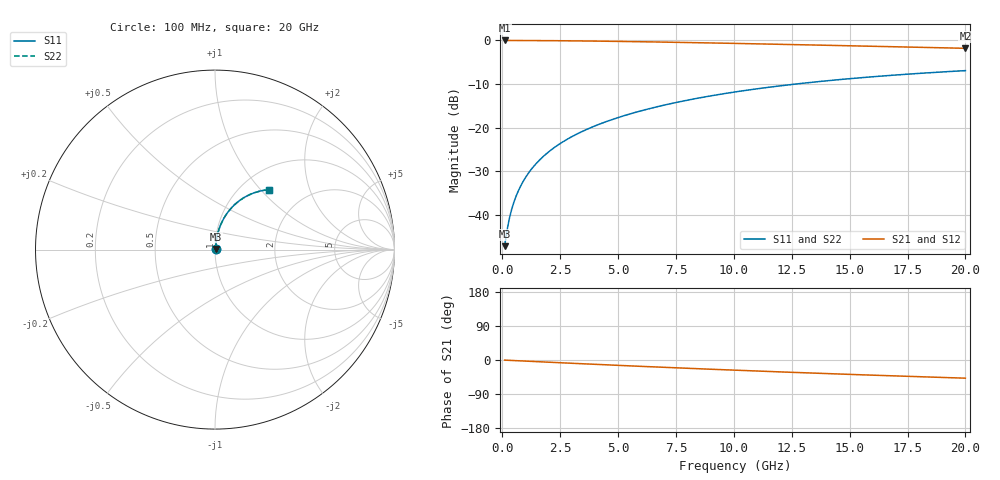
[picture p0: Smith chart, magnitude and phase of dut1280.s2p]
! Touchstone file exported from HFSS 2024.1.0
!  File:  C:/UserFiles/LocalFiles/RDL_TSV_Batchsim/temp_RDL_bottom_1280_1780246629.aedt
!  Generated:  12:59:33 AM Jun  1, 2026
!  Design:  RDL_bottom
!  Project:  temp_RDL_bottom_1280_1780246629
!  Setup:  Setup1
!  Solution:  Sweep
! Variables:
!  dtsv = 10.80580581um
!  hbump = 3um
!  htsv = 61.74um
!  ldown = 697.83um
!  lrdl = 100um
!  p = 40
!  p1 = 46.43um
!  rhole = 1um
!  t = 450um
!  tdown = 4.66um
!  trdl = 3.915915916um
!  wdown = 16.32um
!  wrdl = 20um
# GHz S MA R 50.000000
! Terminal data exported
! Port[1] = RDL1_T1
! Port[2] = RDL1_T2
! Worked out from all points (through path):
!   200 points, 100 MHz to 20 GHz, reference 50 ohm
!   highest |S21| = -0.03 dB at 100 MHz (marker M1); lowest = -1.8 dB at 20 GHz (marker M2)
!   group delay of S21, straight-line fit = 6.63 ps
!   lowest |S11| = -47.2 dB at 100 MHz (marker M3), VSWR 1.01, Z = 50.3 + j0.28 ohm
!   |S11| at or under -10 dB: start of sweep to 12.71 GHz
!   |S22| runs from -47.2 to -7.0 dB; largest |S21 - S12| = 1.4e-14
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0.1  0.00436 39.7  0.9966 -0.3  0.9966 -0.3  0.00436 39.7
! Gamma 0 0 0 0
! Port Impedance 50 0 50 0
0.2  0.006518 57.5  0.9965 -0.6  0.9965 -0.6  0.006518 57.5
0.3  0.008928 65.7  0.9963 -0.9  0.9963 -0.9  0.008928 65.7
0.4  0.0114 70.4  0.9961 -1.2  0.9961 -1.2  0.0114 70.4
0.5  0.01391 73.3  0.996 -1.5  0.996 -1.5  0.01391 73.3
0.6  0.01643 75.4  0.9958 -1.8  0.9958 -1.8  0.01643 75.4
0.8  0.02152 78.0  0.9954 -2.3  0.9954 -2.3  0.02152 78.0
1.1  0.02923 80.1  0.9948 -3.2  0.9948 -3.2  0.02923 80.0
1.5  0.03957 81.2  0.9936 -4.4  0.9936 -4.4  0.03957 81.2
1.8  0.04735 81.5  0.9926 -5.2  0.9926 -5.2  0.04735 81.5
2.1  0.05513 81.5  0.9913 -6.1  0.9913 -6.1  0.05513 81.5
2.7  0.07069 81.2  0.9884 -7.8  0.9884 -7.8  0.07068 81.2
3.5  0.0914 80.3  0.9836 -10.0  0.9836 -10.0  0.09138 80.3
4.2  0.1095 79.2  0.9787 -12.0  0.9787 -12.0  0.1094 79.2
5  0.1301 77.9  0.9723 -14.1  0.9723 -14.1  0.13 77.9
5.9  0.1531 76.3  0.9645 -16.5  0.9645 -16.5  0.1531 76.3
6.8  0.176 74.6  0.9561 -18.9  0.9561 -18.9  0.1759 74.6
8.4  0.2159 71.4  0.9399 -22.9  0.9399 -22.9  0.2158 71.4
10.1  0.257 67.9  0.9217 -27.0  0.9217 -27.0  0.2569 67.8
13.4  0.3308 60.9  0.8844 -34.5  0.8844 -34.5  0.3306 60.9
16.7  0.3951 54.3  0.8467 -41.5  0.8467 -41.5  0.3949 54.2
20  0.4494 48.0  0.8101 -47.9  0.8101 -47.9  0.4491 47.9
